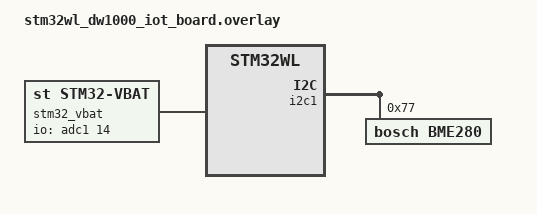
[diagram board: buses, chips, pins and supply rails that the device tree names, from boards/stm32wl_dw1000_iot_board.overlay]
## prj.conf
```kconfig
# Debugger support
CONFIG_UART_CONSOLE=y
CONFIG_CONSOLE=y

# Communication Bus Support
CONFIG_GPIO=y
CONFIG_SPI=y
CONFIG_I2C=y

# Hardware Support
CONFIG_SENSOR=y

# Flash Memory Support
CONFIG_FLASH=y
CONFIG_FLASH_PAGE_LAYOUT=y
CONFIG_MPU_ALLOW_FLASH_WRITE=y
CONFIG_HEAP_MEM_POOL_SIZE=16384
```

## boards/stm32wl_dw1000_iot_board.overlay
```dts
/*
 * Copyright (c) 2023
 * Regis Rousseau
 * Univ Lyon, INSA Lyon, Inria, CITI, EA3720
 * SPDX-License-Identifier: Apache-2.0
 */

/* VBAT battery voltage monitoring */
/* internal ADC channnel of STM32, Px14 - see datasheet ADC part pg 42/149 */
/ {
	stm32_vbat: stm32vbat {
    compatible = "st,stm32-vbat";
    io-channels = <&adc1 14>;
    ratio = <3>;
    status = "okay";
	};
};

/* config of BME280 sensor (temperature and Humidity) on i2c bus */
/* address 0x77 --> Address Chip Select on high level (VDD) */
&i2c1 {
	status = "okay";
	bme280@77 {
		compatible = "bosch,bme280";
		reg = <0x77>;
	};
};
```

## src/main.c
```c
/*
 * Copyright (c) 2023
 * Regis Rousseau
 * Univ Lyon, INSA Lyon, Inria, CITI, EA3720
 * SPDX-License-Identifier: Apache-2.0
 */

#include "app_flash.h"
#include "app_bme280.h"
#include "app_vbat.h"

//  ======== interrupt sub-routine ===============================
void sens_work_handler(struct k_work *work_rtc)
{
	struct nvs_fs flash;

	printk("sensor handler called\n");
	app_flash_handler(&flash);
}
K_WORK_DEFINE(sens_work, sens_work_handler);

void sens_timer_handler(struct k_timer *rtc_dum)
{
	k_work_submit(&sens_work);
}
K_TIMER_DEFINE(sens_timer, sens_timer_handler, NULL);

//  ======== main ===============================================
int main(void)
{
	const struct device *bme_dev = NULL;
	const struct device *bat_dev = NULL;
	struct nvs_fs flash;

	// setup all devices
	app_bme280_init(bme_dev);
	app_stm32_vbat_init(bat_dev);
	app_flash_init(&flash);
	
	printk("Sensor BME280 and Battery Example\nBoard: %s\n", CONFIG_BOARD);

	// beginning of interrupt subroutine
	k_timer_start(&sens_timer, K_MSEC(2000), K_MSEC(2000));		// for test
//	k_timer_start(&sens_timer, K_MINUES(30), K_MINUTES(30));	// final code

	return 0;
}
```

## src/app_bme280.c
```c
/*
 * Copyright (c) 2023
 * Regis Rousseau
 * Univ Lyon, INSA Lyon, Inria, CITI, EA3720
 * SPDX-License-Identifier: Apache-2.0
 */

#include "app_bme280.h"

//  ======== app_bme280_init ============================================
int8_t app_bme280_init(const struct device *dev)
{
    // getting bme280 sensor i2c device (SDA: PA10, SCL:PA8)
    dev = DEVICE_DT_GET_ANY(bosch_bme280);
    if (dev == NULL) {
        printk("error: no bme280 device found\n");
		return 0;
	}

    if (!device_is_ready(dev)) {
		printk("error: bme280 is not ready\n");
		return 0;
	} else {
        printk("- found device \"%s\", getting bme280 data\n", dev->name);
    }
    return 0;
}

//  ======== app_bme280_get_temp ========================================
uint16_t app_bme280_get_temp(const struct device *dev)
{
    struct sensor_value temp_int32;
    uint16_t temp_uint16;
    int8_t ret;

    // getting bme280 sensor i2c device
    dev = DEVICE_DT_GET_ANY(bosch_bme280);

    // fetching data
	ret = sensor_sample_fetch(dev);
    if (ret < 0 && ret != -EBADMSG) { 
	    printk("bme280 device sample is not up to date. error: %d\n", ret);
	    return 0;
    }

    // getting channel function
	ret = sensor_channel_get(dev, SENSOR_CHAN_AMBIENT_TEMP, &temp_int32);
    if (ret < 0) {
        printk("can't read sensor channels. error: %d\n", ret);
	    return 0;
    }

    // temperature received from channel get
    // resolution 12 bits: 0 to 4095 (uint16)
	temp_uint16 = (uint16_t)(temp_int32.val1*100 + temp_int32.val2 / 10000);
//    printk("bme280 temp: %d\n", temp_uint16);
    return temp_uint16;
}

//  ======== app_bme280_get_press =======================================
uint16_t app_bme280_get_press(const struct device *dev)
{
    struct sensor_value press_int32;
    uint16_t press_uint16;
    int8_t ret;

    // getting bme280 sensor i2c device
    dev = DEVICE_DT_GET_ANY(bosch_bme280);

    // fetching data
	ret = sensor_sample_fetch(dev);
    if (ret < 0 && ret != -EBADMSG) { 
	    printk("bme280 device sample is not up to date. error: %d\n", ret);
	    return 0;
    }

    // getting channel function
	ret = sensor_channel_get(dev, SENSOR_CHAN_PRESS, &press_int32);
    if (ret < 0) {
        printk("can't read sensor channels. error: %d\n", ret);
	    return 0;
    }

    // pressure received from channel get
    // resolution 12 bits: 0 to 4095 (uint16)
	press_uint16 = ((uint16_t)(press_int32.val1*1000 + press_int32.val2 / 10000)) - 5000;
 //   printk("bme280 pressure: %d\n", press_uint16);
    return press_uint16;
}

//  ======== app_bme280_get_hum =========================================
uint16_t app_bme280_get_hum(const struct device *dev)
{
    struct sensor_value hum_int32;
    uint16_t hum_uint16;
    int8_t ret;

    // getting bme280 sensor i2c device
    dev = DEVICE_DT_GET_ANY(bosch_bme280);

    // fetching data
	ret = sensor_sample_fetch(dev);
    if (ret < 0 && ret != -EBADMSG) { 
	    printk("bme280 device sample is not up to date. error: %d\n", ret);
	    return 0;
    }

    // getting channel function
	ret = sensor_channel_get(dev, SENSOR_CHAN_HUMIDITY, &hum_int32);
    if (ret < 0) {
        printk("can't read sensor channels. error: %d\n", ret);
	    return 0;
    }

    // humidity received from channel get
    // resolution 12 bits: 0 to 4095 (uint16)
	hum_uint16 = (uint16_t)(hum_int32.val1*100 + hum_int32.val2 / 10000);
 //   printk("bme280 humidity: %d\n", hum_uint16);
    return hum_uint16;
}
```

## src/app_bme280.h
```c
/*
 * Copyright (c) 2023
 * Regis Rousseau
 * Univ Lyon, INSA Lyon, Inria, CITI, EA3720
 * SPDX-License-Identifier: Apache-2.0
 */

#ifndef APP_BME280_H
#define APP_BME280_H

//  ======== includes =============================================
#include <zephyr/kernel.h>
#include <zephyr/device.h>
#include <zephyr/drivers/sensor.h>

//  ======== prototypes ============================================
int8_t app_bme280_init(const struct device *dev);
uint16_t app_bme280_get_temp(const struct device *dev);
uint16_t app_bme280_get_press(const struct device *dev);
uint16_t app_bme280_get_hum(const struct device *dev);


#endif /* APP_BME280_H */
```

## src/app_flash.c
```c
/*
 * Copyright (c) 2023
 * Regis Rousseau
 * Univ Lyon, INSA Lyon, Inria, CITI, EA3720
 * SPDX-License-Identifier: Apache-2.0
 */

#include "app_vbat.h"
#include "app_bme280.h"
#include "app_flash.h"

//  ======== globals ============================================
int8_t ind;		// declaration of isr index

struct nvs_data {
	uint16_t vbat;
	uint16_t temp;
	uint16_t press;
	uint16_t hum;
};

//  ======== app_flash_init =====================================
int8_t app_flash_init(struct nvs_fs *fs)
{
	struct flash_pages_info info;
	int8_t ret;
	ssize_t size;

	// configuration of storage partition in flash memory
	fs->flash_device = NVS_PARTITION_DEVICE;
	if (!device_is_ready(fs->flash_device)) {
		printk("flash device \"%s\" is not ready\n", fs->flash_device->name);
		return 0;
	} else {
		printk("- found device: \"%s\", getting nvs memory\n", fs->flash_device->name);
	}

	fs->offset = NVS_PARTITION_OFFSET;
	ret = flash_get_page_info_by_offs(fs->flash_device, fs->offset, &info);
	if (ret) {
		printk("unable to get page info. error: %d\n", ret);
		return 0;
	}

	fs->sector_size = info.size;
	if (!fs->sector_size || fs->sector_size % info.size) {
		printk("invalid sector size\n");
		return 0;
	}

	fs->sector_count = 3U;
	ret = nvs_mount(fs);
	if (ret) {
		printk("flash init failed. error: %d\n", ret);
		return 0;
	}

	(void)nvs_delete(fs, NVS_SENSOR_ID);
	if (ret) {
		printk("erasing flash memory failed. error: %d\n", ret);
		return 0;
	} else {
		printk("cleared NVS from flash\n");
	}

	size =  nvs_calc_free_space(fs);
	printk("flash memory partition size: %d\n", size);
	ind = 0;	// initialisation of isr index
	return 0;
}

//  ======== app_flash_write ====================================
int8_t app_flash_write(struct nvs_fs *fs, void *data)
{	
	ssize_t ret;

	// writing data in the first page of 2kbytes
	ret =  nvs_write(fs, NVS_SENSOR_ID, &data, sizeof(data));
	if (ret < 0) {
		printk ("saved %d to address 0x0003f000\n", ret);
		
	} else {
		printk("error writing data\n");	
	}
//	(void)nvs_write(fs, NVS_SENSOR_ID, data, sizeof(data));
	return 0;
}

//  ======== app_flash_read =====================================
int8_t app_flash_read(struct nvs_fs *fs)
{
	ssize_t ret;
	struct nvs_data data_rd[NVS_BUFFER_SIZE];

	// reading the first page
	ret = nvs_read(fs, NVS_SENSOR_ID, &data_rd, sizeof(data_rd));
	if (ret < 0) {
		printk("read %zu bytes from address 0x0003f000\n", ret);
	} else {
		printk("error reading data\n");
	}
	// printing data
	for (int8_t i = 0; i < NVS_BUFFER_SIZE; i++) {
		printk("vbat: %d, temp: %d, press: %d, hum: %d\n", data_rd[i].vbat, data_rd[i].temp, data_rd[i].press, data_rd[i].hum);
	}
	return 0;		
}

//  ======== app_flash_handler ==================================
int8_t app_flash_handler(struct nvs_fs *fs)
{
	int8_t ret;
	uint16_t vbat, temp, press, hum;
	const struct device *bme_dev;
	const struct device *bat_dev;
	struct nvs_data data[NVS_BUFFER_SIZE];
	struct nvs_data data_rd[NVS_BUFFER_SIZE];
	static struct nvs_fs flash;

	// getting all sensor devices
	bat_dev = DEVICE_DT_GET_ONE(st_stm32_vbat);
	bme_dev = DEVICE_DT_GET_ANY(bosch_bme280);

	// putting 4 structures in fisrt page for this test
	if (ind < NVS_BUFFER_SIZE) {
		data[ind].vbat = app_stm32_get_vbat(bat_dev);
		data[ind].temp = app_bme280_get_temp(bme_dev);
		data[ind].press = app_bme280_get_press(bme_dev);
		data[ind].hum = app_bme280_get_hum(bme_dev);
		ind++;
	} else {
		app_flash_write(&flash, data);
		app_flash_read(&flash);
		ind = 0;
	}
	return 0;
}
```

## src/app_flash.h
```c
/*
 * Copyright (c) 2023
 * Regis Rousseau
 * Univ Lyon, INSA Lyon, Inria, CITI, EA3720
 * SPDX-License-Identifier: Apache-2.0
 */

#ifndef APP_FLASH_H
#define APP_FLASH_H

//  ======== includes ==============================================
#include <zephyr/kernel.h>
#include <zephyr/device.h>
#include <zephyr/fs/nvs.h>
#include <zephyr/drivers/flash.h>
#include <zephyr/storage/flash_map.h>

//  ======== defines ===============================================
#define NVS_PARTITION			storage_partition
#define NVS_PARTITION_DEVICE	FIXED_PARTITION_DEVICE(NVS_PARTITION)
#define NVS_PARTITION_OFFSET	FIXED_PARTITION_OFFSET(NVS_PARTITION)
#define NVS_BUFFER_SIZE         2       // 1 structure: 4 samples (vbat, temp, press, hum) = 8 bytes
                                        // 2 structures for test
#define NVS_SENSOR_ID           1

//  ======== prototypes ============================================
int8_t app_flash_init(struct nvs_fs *fs);
int8_t app_flash_write(struct nvs_fs *fs, void *data);
int8_t app_flash_read(struct nvs_fs *fs);
int8_t app_flash_handler(struct nvs_fs *fs);

#endif /* APP_FLASH_H */
```

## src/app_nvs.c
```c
/*
 * Copyright (c) 2023
 * Regis Rousseau
 * Univ Lyon, INSA Lyon, Inria, CITI, EA3720
 * SPDX-License-Identifier: Apache-2.0
 */

#include "app_nvs.h"
#include "app_vbat.h"
#include "app_bme280.h"

int8_t app_nvs_init(struct nvs_fs *fs)
{
	struct flash_pages_info info;
	int8_t ret;

	fs->flash_device = NVS_PARTITION_DEVICE;
	if (!device_is_ready(fs->flash_device)) {
		printk("flash device %s is not ready\n", fs->flash_device->name);
		return 0;
	} else {
		printk("- found device: \"%s\", getting nvs memory\n", fs->flash_device->name);
	}

	fs->offset = NVS_PARTITION_OFFSET;
	ret = flash_get_page_info_by_offs(fs->flash_device, fs->offset, &info);
	if (ret) {
		printk("unable to get page info. error: %d\n", ret);
		return 0;
	}

	fs->sector_size = info.size;
	if (!fs->sector_size || fs->sector_size % info.size) {
		printk("invalid sector size\n");
		return 0;
	}

	fs->sector_count = 2U;
	ret = nvs_mount(fs);
	if (ret) {
		printk("flash init failed. error: %d\n", ret);
		return 0;
	}
	return 0;
}

int8_t app_nvs_bat_handler(const struct device *dev)
{
	int8_t ret;
	uint16_t val[BAT_BUFFER_SIZE];
	static struct nvs_fs fs;

	ret = nvs_read(&fs, NVS_STM32_VBAT_ID, &val, sizeof(val));
	if (ret > 0) {
        printk("VBAT =%d\n", val);
    } else {
        return 0;
    }
	(void)nvs_delete(&fs, NVS_STM32_VBAT_ID);
	return 0;
}

int8_t app_nvs_tph_handler(const struct device *dev)
{
	int8_t ret;
	uint16_t val[TPH_BUFFER_SIZE];
	static struct nvs_fs fs;

	ret = nvs_read(&fs, NVS_STM32_VBAT_ID, &val, sizeof(val));
	if (ret > 0) {
        printk("TPH =%d\n", val);
    } else {
        return 0;
    }
	(void)nvs_delete(&fs, NVS_STM32_VBAT_ID);
	return 0;
}
```

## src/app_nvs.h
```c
/*
 * Copyright (c) 2023
 * Regis Rousseau
 * Univ Lyon, INSA Lyon, Inria, CITI, EA3720
 * SPDX-License-Identifier: Apache-2.0
 */

#ifndef APP_NVS_H
#define APP_NVS_H

#include <zephyr/kernel.h>
#include <zephyr/device.h>
#include <zephyr/fs/nvs.h>
#include <zephyr/drivers/flash.h>
#include <zephyr/storage/flash_map.h>

#define NVS_PARTITION			storage_partition
#define NVS_PARTITION_DEVICE	FIXED_PARTITION_DEVICE(NVS_PARTITION)
#define NVS_PARTITION_OFFSET	FIXED_PARTITION_OFFSET(NVS_PARTITION)

#define NVS_STM32_VBAT_ID       1
#define NVS_BME280_ID           2

int8_t app_nvs_init(struct nvs_fs *fs);
int8_t app_nvs_bat_handler(const struct device *dev);
int8_t app_nvs_tph_handler(const struct device *dev);

#endif /* APP_NVS_H */
```

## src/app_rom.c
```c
/*
 * Copyright (c) 2023
 * Regis Rousseau
 * Univ Lyon, INSA Lyon, Inria, CITI, EA3720
 * SPDX-License-Identifier: Apache-2.0
 */

 #include "app_rom.h"

 int8_t app_rom_init(const struct device *dev)
 {
    dev = DEVICE_DT_GET(DT_ALIAS(eeprom0));

    if (dev = NULL) {
		printk("no eeprom device found. error: %d\n", dev);
		return 0;
	}
    if (!device_is_ready(dev)) {
		printk("eeprom is not ready. error: %d\n", dev);
		return 0;
	}
	return 0;
}

int8_t app_rom_write(const struct device *dev, uint16_t data)
{
	int8_t ret;

	dev = DEVICE_DT_GET(DT_ALIAS(eeprom0));

	ret = eeprom_write(dev, EEPROM_SAMPLE_OFFSET, &data, sizeof(data));
	if (ret  < 0){
		printk("couldn't write eeprom. error: %d\n", ret);
	}
	return 0;
}

uint16_t app_rom_read(const struct device *dev)
{
	int8_t ret;
	uint16_t data;

	dev = DEVICE_DT_GET(DT_ALIAS(eeprom0));

	ret = eeprom_read(dev, EEPROM_SAMPLE_OFFSET, &data, sizeof(data));
	if (ret  < 0){
		printk("couldn't read eeprom. error: %d\n", ret);
	}
	return data;
}
```

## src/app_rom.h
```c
/*
 * Copyright (c) 2023
 * Regis Rousseau
 * Univ Lyon, INSA Lyon, Inria, CITI, EA3720
 * SPDX-License-Identifier: Apache-2.0
 */
 
#ifndef APP_ROM_H_
#define APP_ROM_H_

#include <zephyr/kernel.h>
#include <zephyr/device.h>
#include <zephyr/drivers/eeprom.h>

#define EEPROM_SAMPLE_OFFSET        0

int8_t app_rom_init(const struct device *dev);
int8_t app_rom_write(const struct device *dev, uint16_t data);
uint16_t app_rom_read(const struct device *dev);

#endif /* APP_ROM_H_ */
```

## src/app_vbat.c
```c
/*
 * Copyright (c) 2023
 * Regis Rousseau
 * Univ Lyon, INSA Lyon, Inria, CITI, EA3720
 * SPDX-License-Identifier: Apache-2.0
 */

#include "app_vbat.h"

//  ======== app_stm32_vbat_init ============================================
int8_t app_stm32_vbat_init(const struct device *dev)
{
    // getting internal vbat ADC device at GPIO PB14
    dev = DEVICE_DT_GET_ONE(st_stm32_vbat);

    if (dev == NULL) {
        printk("error: no stm32 vbat device found\n");
		return 0;
	}

    if (!device_is_ready(dev)) {
		printk("error: stm32 vbat is not ready\n");
		return 0;
	} else {
        printk("- found device \"%s\", getting vbat data\n", dev->name);
    }
    return 0;
}

//  ======== app_stm32_get_vbat =============================================
uint16_t app_stm32_get_vbat(const struct device *dev)
{
    struct sensor_value bat_int32;
    uint16_t bat_uint16;
    int8_t ret = 0;

    // getting vbat ADC device
    dev = DEVICE_DT_GET_ONE(st_stm32_vbat);

    // fetching data
    ret = sensor_sample_fetch(dev);
    if (ret < 0 && ret != -EBADMSG) {        
	    printk("error: stm32 vbat sample is not up to date\n");
	    return 0;
    }

    // getting channel function
	ret = sensor_channel_get(dev, SENSOR_CHAN_VOLTAGE, &bat_int32);
    if (ret < 0) {
        printk("error: can't read sensor channels\n");
	    return 0;
    }

    // battery level received and converted from channel get
    // resolution 12bits: 0 to 4095 (uint16)
    bat_uint16 = (uint16_t)(bat_int32.val1*100 + bat_int32.val2/10000);
 //   printk("stm32 vbat: %d\n", bat_uint16);
    return bat_uint16;
}
```

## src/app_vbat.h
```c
/*
 * Copyright (c) 2023
 * Regis Rousseau
 * Univ Lyon, INSA Lyon, Inria, CITI, EA3720
 * SPDX-License-Identifier: Apache-2.0
 */

#ifndef APP_VBAT_H
#define APP_VBAT_H

//  ======== includes =============================================
#include <zephyr/kernel.h>
#include <zephyr/device.h>
#include <zephyr/drivers/sensor.h>

//  ======== prototypes ============================================
int8_t app_stm32_vbat_init(const struct device *dev);
uint16_t app_stm32_get_vbat(const struct device *dev);

#endif /* APP_VBAT_H */
```
